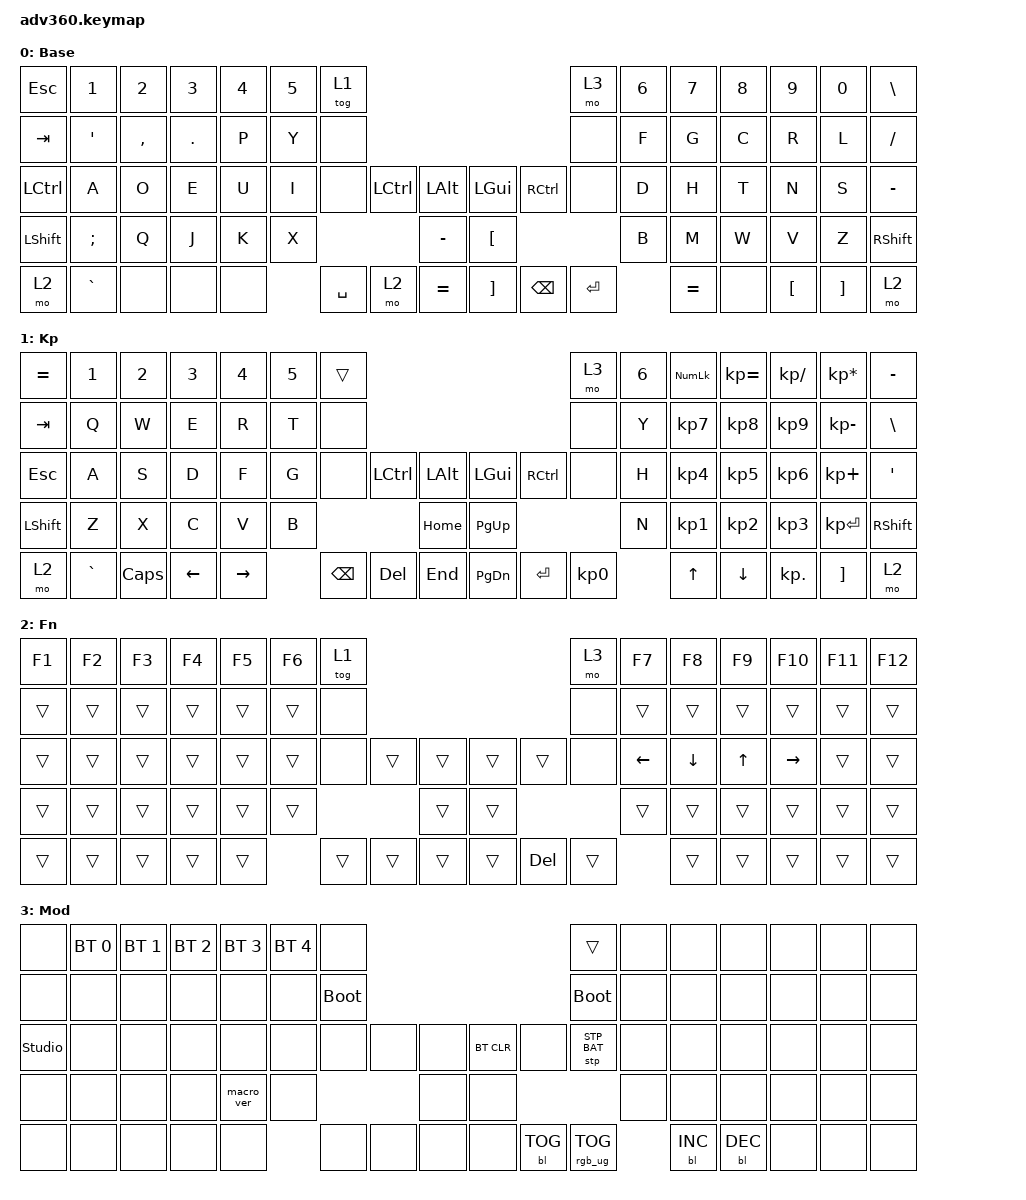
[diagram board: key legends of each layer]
#include <dt-bindings/zmk/stp.h>
#include <behaviors.dtsi>
#include <dt-bindings/zmk/backlight.h>
#include <dt-bindings/zmk/bt.h>
#include <dt-bindings/zmk/keys.h>
#include <dt-bindings/zmk/rgb.h>

/ {
    behaviors {
        #include "macros.dtsi"
      #include "version.dtsi"

        hm: homerow_mods {
            compatible = "zmk,behavior-hold-tap";
            label = "HOMEROW_MODS";
            #binding-cells = <2>;
            tapping-term-ms = <200>;
            quick_tap_ms = <175>;
            flavor = "tap-preferred";
            bindings = <&kp>, <&kp>;
        };

        minus_plus: minus_plus {
            compatible = "zmk,behavior-tap-dance";
            label = "MINUS_PLUS";
            #binding-cells = <0>;
            bindings = <&kp MINUS>, <&kp PLUS>;
        };
    };

    keymap {
        compatible = "zmk,keymap";

        default_layer {
            display-name = "Base";
            bindings = <
&kp ESCAPE  &kp N1            &kp N2     &kp N3      &kp N4  &kp N5  &tog 1                                                                 &mo 3      &kp N6  &kp N7     &kp N8  &kp N9            &kp N0             &kp BSLH
&kp TAB     &kp SINGLE_QUOTE  &kp COMMA  &kp PERIOD  &kp P   &kp Y   &none                                                                  &none      &kp F   &kp G      &kp C   &kp R             &kp L              &kp SLASH
&kp LCTRL   &kp A             &kp O      &kp E       &kp U   &kp I   &none      &kp LCTRL  &kp LALT       &kp LGUI           &kp RCTRL      &none      &kp D   &kp H      &kp T   &kp N             &kp S              &kp MINUS
&kp LSHFT   &kp SEMICOLON     &kp Q      &kp J       &kp K   &kp X                         &kp MINUS      &kp LEFT_BRACKET                             &kp B   &kp M      &kp W   &kp V             &kp Z              &kp RSHFT
&mo 2       &kp GRAVE         &none      &none       &none           &kp SPACE  &mo 2      &kp EQUAL      &kp RIGHT_BRACKET  &kp BACKSPACE  &kp ENTER          &kp EQUAL  &none   &kp LEFT_BRACKET  &kp RIGHT_BRACKET  &mo 2
            >;
        };

        keypad {
            display-name = "Kp";
            bindings = <
&kp EQUAL  &kp N1     &kp N2    &kp N3    &kp N4     &kp N5  &trans                                                   &mo 3      &kp N6  &kp KP_NUM  &kp KP_EQUAL  &kp KP_DIVIDE  &kp KP_MULTIPLY  &kp MINUS
&kp TAB    &kp Q      &kp W     &kp E     &kp R      &kp T   &none                                                    &none      &kp Y   &kp KP_N7   &kp KP_N8     &kp KP_N9      &kp KP_MINUS     &kp BSLH
&kp ESC    &kp A      &kp S     &kp D     &kp F      &kp G   &none     &kp LCTRL  &kp LALT      &kp LGUI   &kp RCTRL  &none      &kp H   &kp KP_N4   &kp KP_N5     &kp KP_N6      &kp KP_PLUS      &kp SQT
&kp LSHFT  &kp Z      &kp X     &kp C     &kp V      &kp B                        &kp HOME      &kp PG_UP                        &kp N   &kp KP_N1   &kp KP_N2     &kp KP_N3      &kp KP_ENTER     &kp RSHFT
&mo 2      &kp GRAVE  &kp CAPS  &kp LEFT  &kp RIGHT          &kp BSPC  &kp DEL    &kp END       &kp PG_DN  &kp ENTER  &kp KP_N0          &kp UP      &kp DOWN      &kp KP_DOT     &kp RBKT         &mo 2
            >;
        };

        fn {
            display-name = "Fn";
            bindings = <
&kp F1  &kp F2  &kp F3  &kp F4  &kp F5  &kp F6  &tog 1                                          &mo 3   &kp F7    &kp F8    &kp F9  &kp F10    &kp F11  &kp F12
&trans  &trans  &trans  &trans  &trans  &trans  &none                                           &none   &trans    &trans    &trans  &trans     &trans   &trans
&trans  &trans  &trans  &trans  &trans  &trans  &none   &trans  &trans      &trans  &trans      &none   &kp LEFT  &kp DOWN  &kp UP  &kp RIGHT  &trans   &trans
&trans  &trans  &trans  &trans  &trans  &trans                  &trans      &trans                      &trans    &trans    &trans  &trans     &trans   &trans
&trans  &trans  &trans  &trans  &trans          &trans  &trans  &trans      &trans  &kp DELETE  &trans            &trans    &trans  &trans     &trans   &trans
            >;
        };

        mod {
            display-name = "Mod";
            bindings = <
&none           &bt BT_SEL 0  &bt BT_SEL 1  &bt BT_SEL 2  &bt BT_SEL 3  &bt BT_SEL 4  &none                                                  &trans           &none  &none       &none       &none  &none  &none
&none           &none         &none         &none         &none         &none         &bootloader                                            &bootloader      &none  &none       &none       &none  &none  &none
&studio_unlock  &none         &none         &none         &none         &none         &none        &none  &none      &bt BT_CLR  &none       &stp STP_BAT     &none  &none       &none       &none  &none  &none
&none           &none         &none         &none         &macro_ver    &none                             &none      &none                                    &none  &none       &none       &none  &none  &none
&none           &none         &none         &none         &none                       &none        &none  &none      &none       &bl BL_TOG  &rgb_ug RGB_TOG         &bl BL_INC  &bl BL_DEC  &none  &none  &none
            >;
        };

        extra1 {
            display-name = "Red";
            status = "reserved";
        };

        extra2 {
            display-name = "Purple";
            status = "reserved";
        };

        extra3 {
            display-name = "Cyan";
            status = "reserved";
        };

        extra4 {
            display-name = "Yellow";
            status = "reserved";
        };
    };
};
